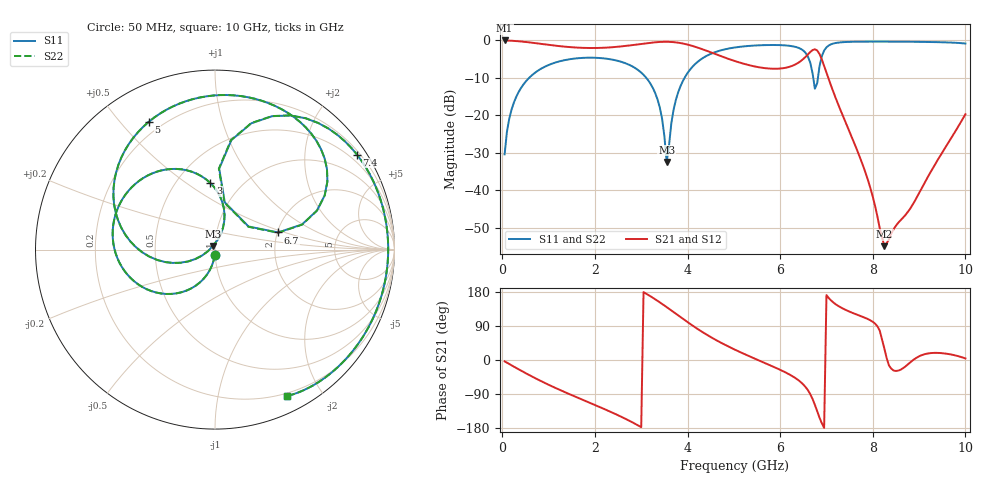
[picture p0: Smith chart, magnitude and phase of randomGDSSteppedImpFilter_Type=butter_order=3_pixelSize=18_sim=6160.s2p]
! freq	dB(S11)	phase(S11)	dB(S12)	phase(S12)
!  dB(S21)	phase(S21)	dB(S22)	phase(S22)
!S-par simulation data
#  GHz  S  DB  R 50
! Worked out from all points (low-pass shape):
!   200 points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, 50 MHz to 10 GHz, reference 50 ohm
!   highest |S21| = -0.01 dB at 50 MHz (marker M1); lowest = -54.9 dB at 8.25 GHz (marker M2)
!   |S21| within 3 dB of the highest: start of sweep to 4.466 GHz; 6.658 GHz to 6.817 GHz (158.9 MHz wide, 2.36 % of centre)
!   lowest |S11| = -32.4 dB at 3.55 GHz (marker M3), VSWR 1.05, Z = 48.8 + j2.04 ohm
!   |S11| at or under -10 dB: start of sweep to 578.4 MHz; 3.11 GHz to 3.935 GHz (825 MHz wide, 23.4 % of centre); 6.715 GHz to 6.816 GHz (100.5 MHz wide, 1.49 % of centre)
!   |S22| runs from -32.5 to -0.3 dB; largest |S21 - S12| = 0
!   S11 on the Smith chart (normalised r, x): 50 MHz: 0.99, -0.06; 3 GHz: 0.72, +0.62; 5 GHz: 0.15, +0.60; 6.7 GHz: 2.02, +0.45; 7.4 GHz: 0.29, +3.27; 10 GHz: 0.17, -1.59
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0.05  -30.37 -93.5  -0.01 -3.6  -0.01 -3.6  -30.37 -93.5
0.2  -18.44 -104.4  -0.09 -14.1  -0.09 -14.1  -18.44 -104.4
0.5  -11.06 -125.1  -0.40 -34.4  -0.40 -34.4  -11.06 -125.1
1.75  -4.65 163.9  -1.98 -105.8  -1.98 -105.8  -4.65 163.9
3  -8.58 94.1  -0.93 -177.3  -0.93 -177.3  -8.58 94.1
3.4  -17.82 69.9  -0.41 152.2  -0.41 152.2  -17.83 69.8
3.55  -32.42 119.0  -0.36 139.5  -0.36 139.5  -32.52 118.9
3.7  -18.38 -154.4  -0.46 126.4  -0.46 126.4  -18.38 -154.3
3.95  -9.66 -170.0  -0.95 104.3  -0.95 104.3  -9.66 -170.0
4.45  -3.87 152.1  -2.93 64.2  -2.93 64.2  -3.87 152.2
5  -1.92 117.5  -5.41 28.6  -5.41 28.6  -1.92 117.5
5.05  -1.83 114.6  -5.61 25.7  -5.61 25.7  -1.83 114.7
6  -1.25 64.8  -7.50 -25.9  -7.50 -25.9  -1.25 64.8
6.5  -2.70 31.2  -4.94 -64.6  -4.94 -64.6  -2.71 31.2
6.7  -8.76 15.2  -2.57 -102.9  -2.57 -102.9  -8.78 15.0
6.75  -12.88 34.6  -2.36 -118.3  -2.36 -118.3  -12.96 34.4
6.85  -6.90 87.0  -3.63 -152.2  -3.63 -152.2  -6.91 87.3
7  -1.84 66.8  -8.58 171.2  -8.58 171.2  -1.85 66.9
7.4  -0.43 33.8  -21.46 133.0  -21.46 133.0  -0.43 33.9
8.25  -0.31 -2.8  -54.85 30.4  -54.85 30.4  -0.31 -2.7
8.35  -0.32 -6.4  -53.02 -14.5  -53.02 -14.5  -0.32 -6.3
10  -0.83 -64.0  -19.69 4.1  -19.69 4.1  -0.83 -63.9
